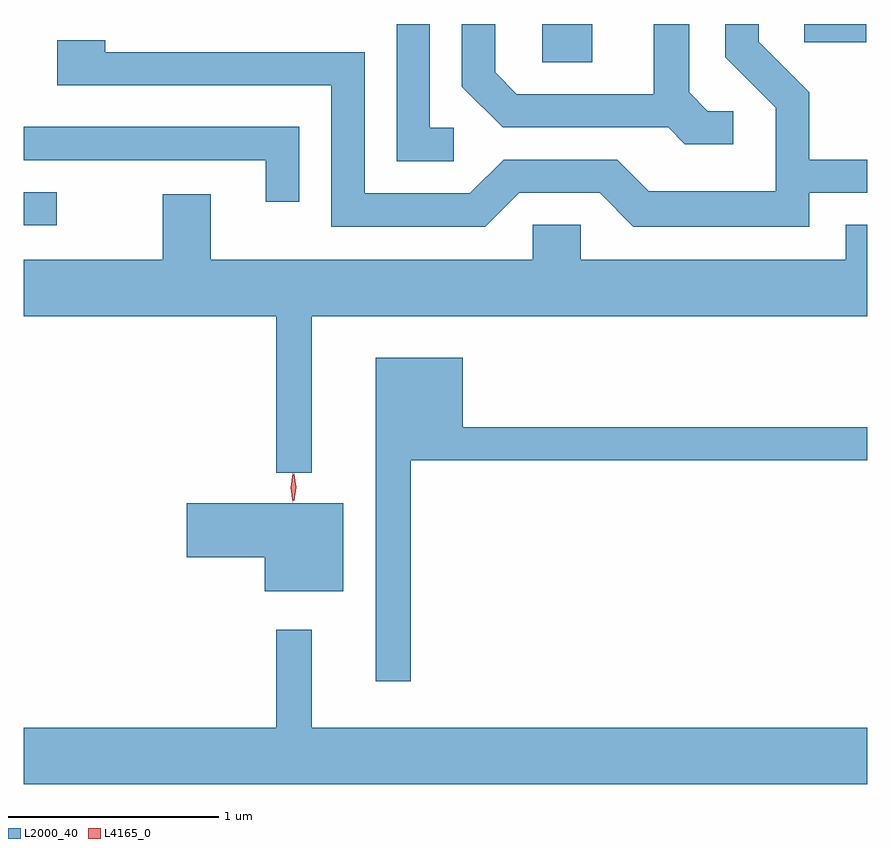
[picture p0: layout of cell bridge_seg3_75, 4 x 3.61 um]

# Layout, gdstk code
import gdstk
lib = gdstk.Library(unit=1e-6, precision=1e-09)
def R(c, l, rs):  # rectangles x0, y0, x1, y1
    for r in rs: c.add(gdstk.rectangle(r[:2], r[2:], *l))
def P(c, l, *ps):  # polygons
    for p in ps: c.add(gdstk.Polygon(p, *l))
L2000_40 = (2000, 40)
L4165_0 = (4165, 0)

bridge_seg3_75 = lib.new_cell('bridge_seg3_75')
R(bridge_seg3_75, L2000_40, [(1140.263,1181.946,1140.418,1182.104), (1142.721,1182.721,1142.959,1182.902), (1143.966,1182.816,1144.259,1182.902)])
P(bridge_seg3_75, L2000_40, [(1142.612,1182.101),(1142.994,1182.101),(1143.154,1181.941),(1143.989,1181.941),(1143.989,1182.101),(1144.263,1182.101),(1144.263,1182.259),(1143.989,1182.259),(1143.989,1182.577),(1143.749,1182.817),(1143.749,1182.902),(1143.591,1182.902),(1143.591,1182.744),(1143.831,1182.504),(1143.831,1182.109),(1143.227,1182.109),(1143.077,1182.259),(1142.539,1182.259),(1142.379,1182.099),(1141.879,1182.099),(1141.879,1182.769),(1140.649,1182.769),(1140.649,1182.824),(1140.421,1182.824),(1140.421,1182.611),(1141.721,1182.611),(1141.721,1181.941),(1142.452,1181.941)],
  [(1143.628,1182.489),(1143.507,1182.489),(1143.419,1182.577),(1143.419,1182.902),(1143.251,1182.902),(1143.251,1182.569),(1142.602,1182.569),(1142.499,1182.672),(1142.499,1182.902),(1142.341,1182.902),(1142.341,1182.604),(1142.534,1182.411),(1143.319,1182.411),(1143.399,1182.331),(1143.628,1182.331)],
  [(1142.303,1182.409),(1142.189,1182.409),(1142.189,1182.902),(1142.031,1182.902),(1142.031,1182.251),(1142.303,1182.251)],
  [(1141.569,1182.414),(1140.263,1182.414),(1140.263,1182.256),(1141.411,1182.256),(1141.411,1182.058),(1141.569,1182.058)],
  [(1141.629,1181.516),(1144.263,1181.516),(1144.263,1181.949),(1144.161,1181.949),(1144.161,1181.784),(1142.904,1181.784),(1142.904,1181.949),(1142.676,1181.949),(1142.676,1181.784),(1141.149,1181.784),(1141.149,1182.094),(1140.921,1182.094),(1140.921,1181.784),(1140.263,1181.784),(1140.263,1181.516),(1141.461,1181.516),(1141.461,1180.773),(1141.629,1180.773)],
  [(1142.099,1180.831),(1144.263,1180.831),(1144.263,1180.989),(1142.344,1180.989),(1142.344,1181.319),(1141.931,1181.319),(1141.931,1179.783),(1142.099,1179.783)],
  [(1141.779,1180.629),(1141.036,1180.629),(1141.036,1180.371),(1141.406,1180.371),(1141.406,1180.211),(1141.779,1180.211)],
  [(1144.263,1179.564),(1141.629,1179.564),(1141.629,1180.028),(1141.461,1180.028),(1141.461,1179.564),(1140.263,1179.564),(1140.263,1179.296),(1144.263,1179.296)])
P(bridge_seg3_75, L4165_0, [(1141.538,1180.634),(1141.538,1180.634),(1141.528,1180.702),(1141.538,1180.77),(1141.538,1180.77),(1141.539,1180.77),(1141.548,1180.702),(1141.539,1180.634)],
  [(1141.544,1180.64),(1141.535,1180.704),(1141.544,1180.766),(1141.545,1180.767),(1141.545,1180.766),(1141.555,1180.704),(1141.545,1180.64),(1141.545,1180.64)])

lib.write_gds('bridge_seg3_75.gds')
